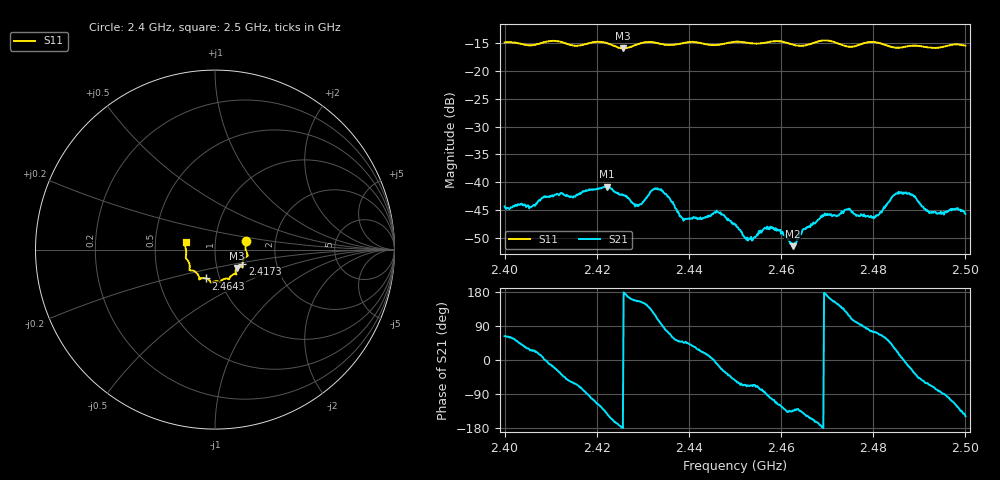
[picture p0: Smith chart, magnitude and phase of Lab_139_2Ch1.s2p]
# Hz S RI R
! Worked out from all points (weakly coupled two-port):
!   601 points, 2.4 GHz to 2.5 GHz, reference 50 ohm
!   highest |S21| = -40.80 dB at 2.4222 GHz (marker M1); lowest = -51.5 dB at 2.4625 GHz (marker M2)
!   lowest |S11| = -15.9 dB at 2.4257 GHz (marker M3), VSWR 1.38, Z = 62.4 - j13.1 ohm
!   |S11| at or under -10 dB: start of sweep to end of sweep
!   S12 and S22 are empty: the file has one direction only
!   S11 on the Smith chart (normalised r, x): 2.4 GHz: 1.41, +0.14; 2.4173 GHz: 1.34, -0.23; 2.4643 GHz: 0.86, -0.29; 2.5 GHz: 0.72, +0.06
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2.4e9  0.1737 0.0492  0.00275 0.00539  0 0  0 0
2.416667e9  0.1534 -0.0744  0.00213 -0.00775  0 0  0 0
2.417333e9  0.1527 -0.0818  0.00117 -0.00821  0 0  0 0
2.422167e9  0.1508 -0.095  -0.00711 -0.00571  0 0  0 0
2.425667e9  0.1226 -0.1024  -0.00762 -6.47e-05  0 0  0 0
2.428833e9  0.1152 -0.1301  -0.00563 0.00263  0 0  0 0
2.433333e9  0.113 -0.1365  -0.00227 0.0083  0 0  0 0
2.438833e9  0.0811 -0.1589  0.00314 0.00321  0 0  0 0
2.446333e9  0.0449 -0.166  0.00521 -0.00125  0 0  0 0
2.45e9  0.0292 -0.1807  0.00245 -0.00334  0 0  0 0
2.4525e9  0.0205 -0.1785  0.00106 -0.00283  0 0  0 0
2.458e9  -0.0181 -0.183  -0.00087 -0.00385  0 0  0 0
2.4625e9  -0.0326 -0.1698  -0.00183 -0.00193  0 0  0 0
2.464333e9  -0.0499 -0.1608  -0.00242 -0.00237  0 0  0 0
2.466667e9  -0.0761 -0.1596  -0.00374 -0.0017  0 0  0 0
2.474333e9  -0.1 -0.1325  -0.00315 0.00473  0 0  0 0
2.480167e9  -0.1429 -0.1131  0.00133 0.00453  0 0  0 0
2.483333e9  -0.1406 -0.0901  0.00425 0.00505  0 0  0 0
2.485e9  -0.1447 -0.0723  0.00716 0.00342  0 0  0 0
2.487333e9  -0.1573 -0.0544  0.00768 -0.00162  0 0  0 0
2.492333e9  -0.1608 -0.022  0.00216 -0.0049  0 0  0 0
2.5e9  -0.1635 0.0419  -0.00441 -0.0027  0 0  0 0
